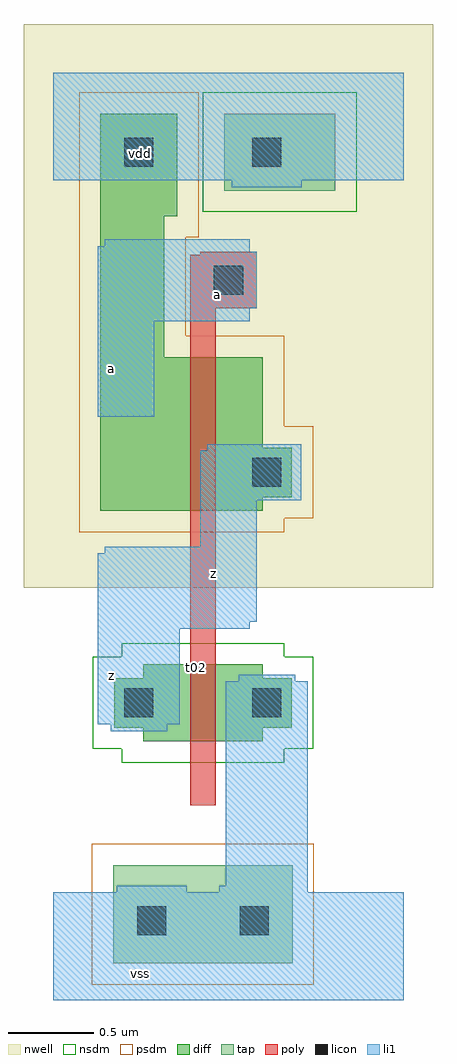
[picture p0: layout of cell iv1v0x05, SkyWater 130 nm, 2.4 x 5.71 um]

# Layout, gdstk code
import gdstk
lib = gdstk.Library(unit=1e-6, precision=5e-09)
def R(c, l, rs):  # rectangles x0, y0, x1, y1
    for r in rs: c.add(gdstk.rectangle(r[:2], r[2:], *l))
nwell = (64, 20)
diff = (65, 20)
tap = (65, 44)
poly = (66, 20)
licon = (66, 44)
li1 = (67, 20)
nsdm = (93, 44)
psdm = (94, 20)

iv1v0x05 = lib.new_cell('iv1v0x05')
R(iv1v0x05, nwell, [(-0.3,2.4,2.1,5.7)])
R(iv1v0x05, diff, [(0.4,1.5,1.1,1.95), (0.23,1.58,1.27,1.87), (0.15,2.85,0.525,5.175), (0.15,2.85,1.1,3.75), (0.15,2.93,1.27,3.22), (0.15,4.575,0.6,5.175)])
R(iv1v0x05, tap, [(0.225,0.2,1.275,0.775), (0.875,4.725,1.525,5.175)])
R(iv1v0x05, poly, [(0.675,1.125,0.825,4.35), (0.675,4.035,1.065,4.35), (0.735,4.035,1.065,4.365)])
R(iv1v0x05, licon, [(0.365,0.365,0.535,0.535), (0.965,0.365,1.135,0.535), (0.29,1.64,0.46,1.81), (1.04,1.64,1.21,1.81), (1.04,2.99,1.21,3.16), (0.815,4.115,0.985,4.285), (0.29,4.865,0.46,5.035), (1.04,4.865,1.21,5.035)])
R(iv1v0x05, li1, [(-0.125,-0.015,1.925,0.615), (-0.125,-0.015,1.925,0.615), (0.245,-0.015,0.655,0.655), (0.845,-0.015,1.365,0.655), (0.885,-0.015,1.365,1.85), (0.96,-0.015,1.29,1.89), (0.21,1.56,0.54,2.64), (0.135,1.6,0.615,2.6), (0.175,1.6,0.615,2.64), (0.135,1.675,0.465,2.525), (0.135,2.16,1.025,2.6), (0.175,2.16,1.025,2.64), (0.735,2.16,1.025,3.2), (0.775,2.16,1.025,3.24), (0.135,2.2,1.065,2.6), (0.135,2.2,1.065,2.6), (0.135,2.2,1.065,2.6), (0.135,2.2,1.065,2.6), (0.175,2.2,1.065,2.64), (0.735,2.2,1.065,3.2), (0.775,2.2,1.065,3.24), (0.735,2.275,1.065,3.125), (0.735,2.91,1.325,3.2), (0.775,2.91,1.325,3.24), (0.135,3.4,0.465,4.4), (0.175,3.4,0.465,4.44), (0.175,3.4,0.465,4.44), (0.135,3.475,0.465,4.325), (0.135,3.96,1.025,4.4), (0.175,3.96,1.025,4.44), (0.135,4.035,1.065,4.365), (0.775,4.035,1.025,4.365), (0.92,4.745,1.33,5.415), (-0.125,4.785,1.925,5.415), (-0.125,4.785,1.925,5.415)])
R(iv1v0x05, nsdm, [(0.275,1.375,1.225,2.075), (0.105,1.455,1.395,1.995), (0.23,1.58,0.52,1.87), (0.98,1.58,1.27,1.87), (0.75,4.6,1.65,5.3)])
R(iv1v0x05, psdm, [(0.1,0.075,1.4,0.9), (0.025,2.725,0.65,5.3), (0.025,2.725,1.225,3.875), (0.025,2.805,1.395,3.345), (0.15,2.85,0.45,5.175), (0.15,2.85,0.45,5.175), (0.225,2.85,0.525,5.175), (0.225,2.85,0.525,5.175), (0.98,2.93,1.27,3.22), (0.025,4.45,0.725,5.3), (0.15,4.575,0.6,5.175), (0.15,4.575,0.6,5.175), (0.23,4.805,0.52,5.095)])
iv1v0x05.add(gdstk.Label('t02', (0.71,1.93), layer=66, texttype=20))
iv1v0x05.add(gdstk.Label('z', (0.215,1.885), layer=67, texttype=20))
iv1v0x05.add(gdstk.Label('a', (0.215,3.685), layer=67, texttype=20))
iv1v0x05.add(gdstk.Label('z', (0.815,2.485), layer=67, texttype=20))
iv1v0x05.add(gdstk.Label('a', (0.835,4.115), layer=67, texttype=20))
iv1v0x05.add(gdstk.Label('vss', (0.385,0.14), layer=67, texttype=20))
iv1v0x05.add(gdstk.Label('vdd', (0.385,4.94), layer=67, texttype=20))

lib.write_gds('iv1v0x05.gds')
